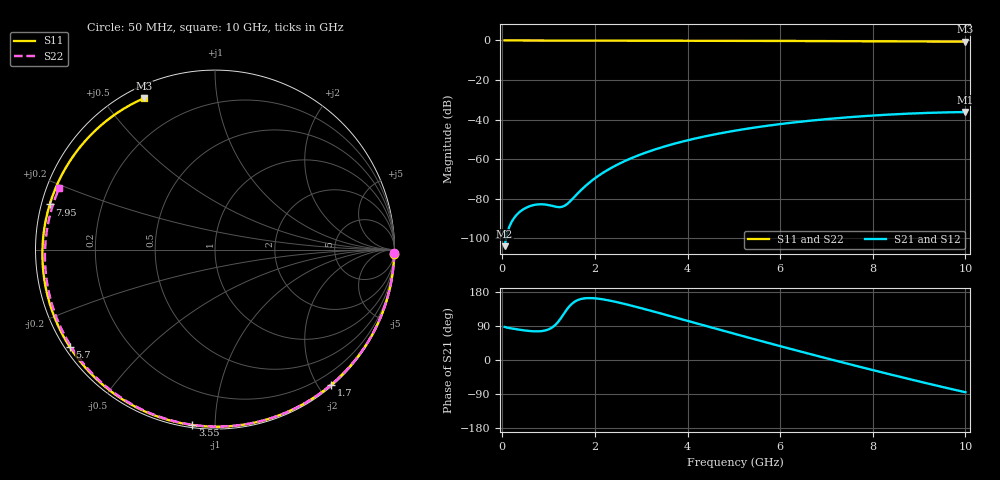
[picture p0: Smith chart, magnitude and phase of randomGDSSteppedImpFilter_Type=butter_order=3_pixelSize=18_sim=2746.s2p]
! freq	dB(S11)	phase(S11)	dB(S12)	phase(S12)
!  dB(S21)	phase(S21)	dB(S22)	phase(S22)
!S-par simulation data
#  GHz  S  DB  R 50
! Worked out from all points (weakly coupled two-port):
!   200 points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, 50 MHz to 10 GHz, reference 50 ohm
!   highest |S21| = -36.18 dB at 10 GHz (marker M1); lowest = -104.0 dB at 50 MHz (marker M2)
!   lowest |S11| = -0.6 dB at 10 GHz (marker M3), VSWR 28.27, Z = 2.48 + j31.7 ohm
!   |S11| at or under -10 dB: nowhere
!   |S22| runs from -0.6 to 0.0 dB; largest |S21 - S12| = 0
!   S11 on the Smith chart (normalised r, x): 50 MHz: 1, -80; 1.7 GHz: 0.02, -2.18; 3.55 GHz: 0.01, -0.88; 5.7 GHz: 0.01, -0.30; 7.95 GHz: 0.02, +0.13; 10 GHz: 0.05, +0.63
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0.05  -0.00 -1.4  -103.96 87.3  -103.96 87.3  -0.00 -1.1
0.4  -0.02 -11.8  -86.20 79.4  -86.20 79.4  -0.01 -9.3
0.75  -0.03 -22.1  -82.90 75.6  -82.90 75.6  -0.02 -17.4
1.5  -0.06 -43.7  -80.47 148.0  -80.47 148.0  -0.04 -34.4
1.55  -0.06 -45.1  -79.24 152.8  -79.24 152.8  -0.04 -35.6
1.7  -0.06 -49.3  -75.64 161.0  -75.64 161.0  -0.05 -38.9
1.75  -0.06 -50.6  -74.52 162.3  -74.52 162.3  -0.05 -40.0
2.05  -0.07 -58.9  -68.82 162.1  -68.82 162.1  -0.06 -46.7
2.45  -0.09 -69.6  -63.19 153.4  -63.19 153.4  -0.07 -55.3
2.9  -0.10 -81.2  -58.42 139.9  -58.42 139.9  -0.08 -64.9
3.4  -0.12 -93.7  -54.32 123.6  -54.32 123.6  -0.10 -75.3
3.55  -0.12 -97.3  -53.26 118.5  -53.26 118.5  -0.10 -78.4
4.25  -0.15 -113.9  -49.11 94.8  -49.11 94.8  -0.13 -92.4
5.05  -0.19 -132.0  -45.49 67.9  -45.49 67.9  -0.16 -107.8
5.7  -0.23 -146.2  -43.18 46.4  -43.18 46.4  -0.20 -120.0
6.2  -0.26 -157.1  -41.70 30.1  -41.70 30.1  -0.23 -129.2
6.7  -0.30 -167.8  -40.43 14.0  -40.43 14.0  -0.26 -138.4
7.35  -0.35 178.0  -39.05 -6.5  -39.05 -6.5  -0.31 -150.2
7.95  -0.40 164.7  -38.03 -25.1  -38.03 -25.1  -0.37 -161.3
8.35  -0.44 155.6  -37.47 -37.2  -37.47 -37.2  -0.41 -168.8
9.15  -0.52 136.7  -36.64 -61.0  -36.64 -61.0  -0.50 175.9
10  -0.61 115.2  -36.18 -85.0  -36.18 -85.0  -0.60 158.6
